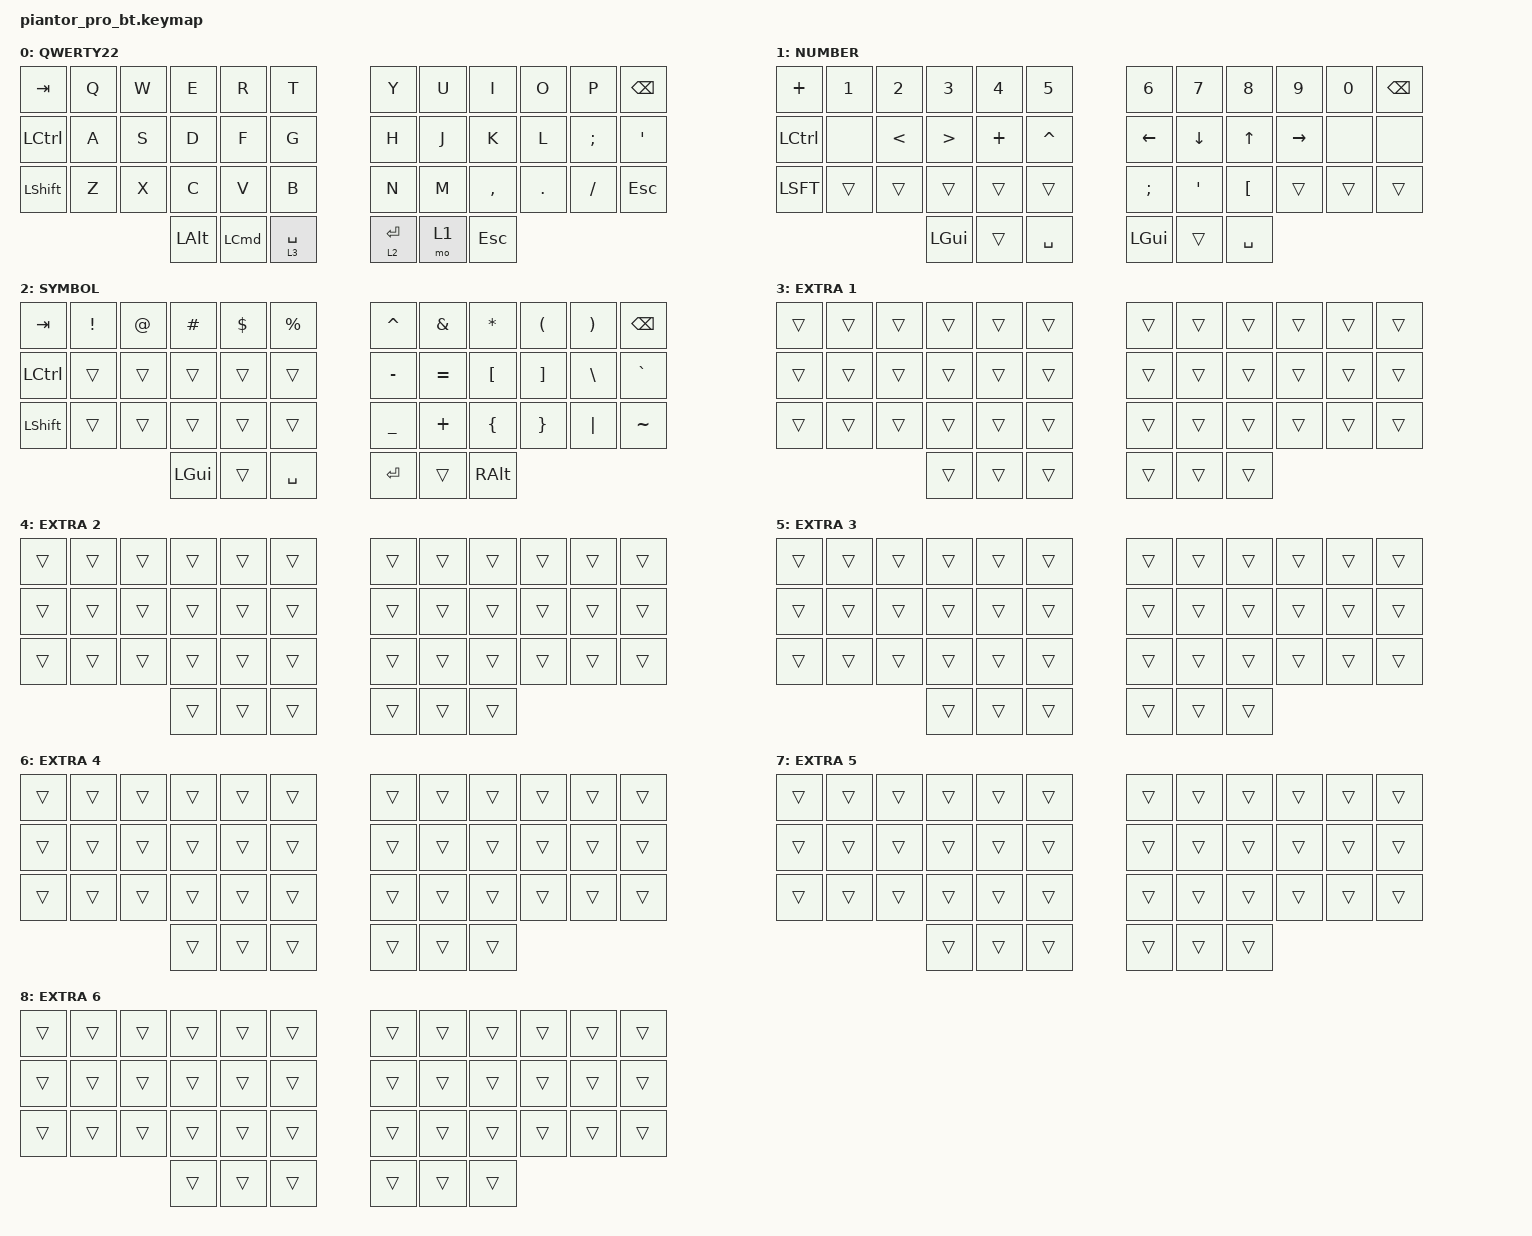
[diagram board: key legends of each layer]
/*
 * Copyright (c) 2020 The ZMK Contributors
 *
 * SPDX-License-Identifier: MIT
 */

#include <behaviors.dtsi>
#include <dt-bindings/zmk/keys.h>
#include <dt-bindings/zmk/bt.h>
#include <dt-bindings/zmk/rgb.h>

/ {
    chosen {
        zmk,physical-layout = &default_layout;
    };
};

/ {
    keymap {
        compatible = "zmk,keymap";

        default_layer {
            display-name = "QWERTY22";
            // --------------------------------------------------------------------------------
            // |  TAB |  Q  |  W  |  E  |  R  |  T  |  Y  |  U   |  I  |  O  |  P  | BSPC |
            // | CTRL |  A  |  S  |  D  |  F  |  G  |  H  |  J   |  K  |  L  |  ;  |  '   |
            // | SHFT |  Z  |  X  |  C  |  V  |  B  |  N  |  M   |  ,  |  .  |  /  | ESC  |
            //                    | GUI | LWR | SPC | ENT | RSE  | ALT |
            bindings = <
                &kp TAB   &kp Q &kp W &kp E &kp R &kp T &kp Y &kp U  &kp I     &kp O   &kp P    &kp BSPC
                &kp LCTRL &kp A &kp S &kp D &kp F &kp G &kp H &kp J  &kp K     &kp L   &kp SEMI &kp SQT
                &kp LSHFT &kp Z &kp X &kp C &kp V &kp B &kp N &kp M  &kp COMMA &kp DOT &kp FSLH &kp ESC
                               &kp LALT &kp LCMD &lt 3 SPACE      &lt 2 RET &mo 1 &kp ESC
            >;
        };

        lower_layer {
            display-name = "NUMBER";
            // &kp SEMI = Ö
            // &kp SQT = Ä
            // &kp LBKT = Å
            bindings = <
                &kp PLUS &kp N1 &kp N2 &kp N3 &kp N4 &kp N5             &kp N6 &kp N7 &kp N8 &kp N9 &kp N0 &kp BSPC
                &kp LCTL &none   &kp LT &kp GT &kp PLUS &kp CARET       &kp LEFT &kp DOWN &kp UP &kp RIGHT &none &none
                &kp LSFT &trans  &trans &trans &trans &trans            &kp SEMI &kp SQT &kp LBKT &trans &trans &trans
                                        &kp LGUI  &trans  &kp SPACE      &kp LGUI &trans   &kp SPACE
            >;
        };

        raise_layer {
            display-name = "SYMBOL";
            // -----------------------------------------------------------------------------------------
            // |  TAB |  !  |  @  |  #  |  $  |  %  |  ^  |  &  |  *  |  (  |  )  | BSPC |
            // | CTRL |     |     |     |     |     |  -  |  =  |  [  |  ]  |  \  |  `   |
            // | SHFT |     |     |     |     |     |  _  |  +  |  {  |  }  | "|" |  ~   |
            //                    | GUI |     | SPC | ENT |     | ALT |
            bindings = <
                &kp  TAB  &kp EXCL &kp AT &kp HASH &kp DLLR &kp PRCNT  &kp CARET &kp AMPS &kp ASTRK &kp LPAR &kp RPAR &kp BSPC
                &kp LCTRL &trans   &trans &trans   &trans   &trans     &kp MINUS &kp EQUAL &kp LBKT &kp RBKT &kp BSLH &kp GRAVE
                &kp LSHFT &trans   &trans &trans   &trans   &trans     &kp UNDER &kp PLUS  &kp LBRC &kp RBRC &kp PIPE &kp TILDE
                                          &kp LGUI &trans   &kp SPACE  &kp RET   &trans    &kp RALT
            >;
        };

        extra_layer_1 {
            display-name = "EXTRA 1";
            bindings = <
                &trans &trans &trans &trans &trans &trans  &trans &trans &trans &trans &trans &trans
                &trans &trans &trans &trans &trans &trans  &trans &trans &trans &trans &trans &trans
                &trans &trans &trans &trans &trans &trans  &trans &trans &trans &trans &trans &trans
                                     &trans &trans &trans  &trans &trans &trans       
            >;
        };

        extra_layer_2 {
            display-name = "EXTRA 2";
            bindings = <
                &trans &trans &trans &trans &trans &trans  &trans &trans &trans &trans &trans &trans
                &trans &trans &trans &trans &trans &trans  &trans &trans &trans &trans &trans &trans
                &trans &trans &trans &trans &trans &trans  &trans &trans &trans &trans &trans &trans
                                     &trans &trans &trans  &trans &trans &trans       
            >;
        };

        extra_layer_3 {
            display-name = "EXTRA 3";
            bindings = <
                &trans &trans &trans &trans &trans &trans  &trans &trans &trans &trans &trans &trans
                &trans &trans &trans &trans &trans &trans  &trans &trans &trans &trans &trans &trans
                &trans &trans &trans &trans &trans &trans  &trans &trans &trans &trans &trans &trans
                                     &trans &trans &trans  &trans &trans &trans       
            >;
        };

        extra_layer_4 {
            display-name = "EXTRA 4";
            bindings = <
                &trans &trans &trans &trans &trans &trans  &trans &trans &trans &trans &trans &trans
                &trans &trans &trans &trans &trans &trans  &trans &trans &trans &trans &trans &trans
                &trans &trans &trans &trans &trans &trans  &trans &trans &trans &trans &trans &trans
                                     &trans &trans &trans  &trans &trans &trans       
            >;
        };

        extra_layer_5 {
            display-name = "EXTRA 5";
            bindings = <
                &trans &trans &trans &trans &trans &trans  &trans &trans &trans &trans &trans &trans
                &trans &trans &trans &trans &trans &trans  &trans &trans &trans &trans &trans &trans
                &trans &trans &trans &trans &trans &trans  &trans &trans &trans &trans &trans &trans
                                     &trans &trans &trans  &trans &trans &trans       
            >;
        };

        extra_layer_6 {
            display-name = "EXTRA 6";
            bindings = <
                &trans &trans &trans &trans &trans &trans  &trans &trans &trans &trans &trans &trans
                &trans &trans &trans &trans &trans &trans  &trans &trans &trans &trans &trans &trans
                &trans &trans &trans &trans &trans &trans  &trans &trans &trans &trans &trans &trans
                                     &trans &trans &trans  &trans &trans &trans       
            >;
        };
    };
};
